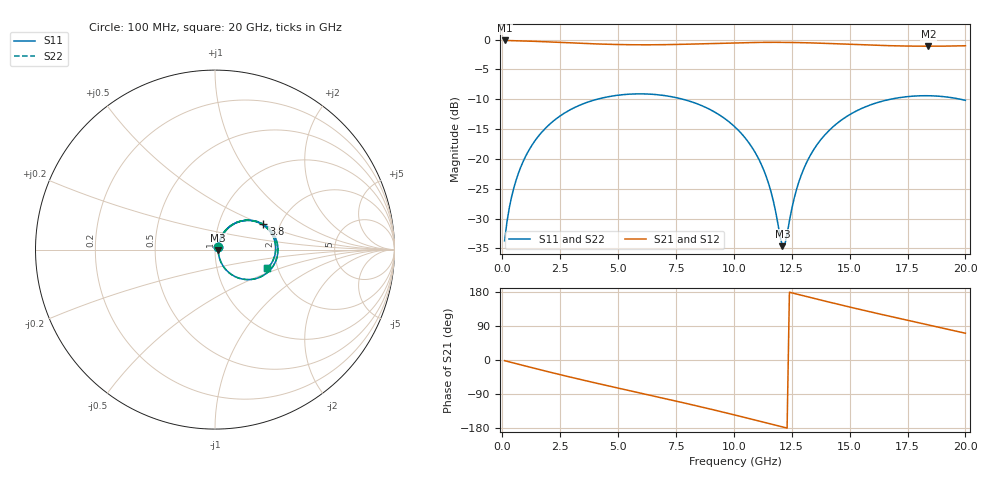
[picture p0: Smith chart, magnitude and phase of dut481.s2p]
! Touchstone file exported from HFSS 2026.1.0
!  File:  C:/ffzhzh/LocalFiles/Ansys_Project_Files/temp_train_TSV_RDL_481_1783104490_53076.aedt
!  Generated:  03:01:11 AM Jul  4, 2026
!  Design:  TSV_RDL
!  Project:  temp_train_TSV_RDL_481_1783104490_53076
! Variables:
!  h_bsmrdl = 3.07um
!  h_ox = 20um
!  h_rdl = 5um
!  h_sub = 61.56um
!  h_tmrdl = 4.69um
!  h_tsv = 61.56um
!  h_via = 3um
!  l_bsmrdl = 312.93um
!  l_sub = 5153.39um
!  l_tmrdl = 915.7um
!  m_sub = 200um
!  pitch = 41.64um
!  r_tsv = 10.01um
!  s_tmrdl = 10um
!  w_bsmrdl = 24.1um
!  w_sub = 500um
!  w_tmrdl = 26.5um
!  x_tsv_center1 = 928.95um
!  x_tsv_center2 = 1265.98um
!  x_tsv_center3 = 2208.18um
!  x_tsv_center4 = 2545.21um
!  x_tsv_center5 = 3487.41um
!  x_tsv_center6 = 3824.44um
# GHz S MA R 50.000000
! Terminal data exported
! Port[1] = TM_RDL1_1_T1
! Port[2] = TM_RDL5_1_T1
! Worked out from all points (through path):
!   200 points, 100 MHz to 20 GHz, reference 50 ohm
!   highest |S21| = -0.15 dB at 100 MHz (marker M1); lowest = -1.1 dB at 18.4 GHz (marker M2)
!   group delay of S21, straight-line fit = 40.2 ps
!   lowest |S11| = -34.6 dB at 12.1 GHz (marker M3), VSWR 1.04, Z = 51.9 - j0.38 ohm
!   |S11| at or under -10 dB: start of sweep to 4.099 GHz; 7.798 GHz to 16.77 GHz (8.968 GHz wide, 73 % of centre); 19.79 GHz to end of sweep
!   |S22| runs from -34.8 to -9.1 dB; largest |S21 - S12| = 2.3e-14
!   S11 on the Smith chart (normalised r, x): 100 MHz: 1.03, +0.02; 3.8 GHz: 1.64, +0.51; 20 GHz: 1.76, -0.41
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0.1  0.02061 34.9  0.9834 -1.7  0.9834 -1.7  0.02061 34.9
! Gamma 0 0 0 0
! Port Impedance 50 0 50 0
0.3  0.03864 55.4  0.9804 -4.9  0.9804 -4.9  0.03864 55.4
0.5  0.05725 61.0  0.9782 -8.1  0.9782 -8.1  0.05725 61.0
1.1  0.1136 61.1  0.9711 -17.5  0.9711 -17.5  0.1136 61.1
2.1  0.1995 50.1  0.9548 -32.7  0.9548 -32.7  0.1995 50.1
3.5  0.2899 31.6  0.9288 -53.2  0.9288 -53.2  0.2899 31.6
3.8  0.304 27.6  0.9238 -57.5  0.9238 -57.5  0.304 27.6
5.3  0.3466 7.9  0.9068 -78.2  0.9068 -78.2  0.3466 7.9
6.8  0.3434 -11.6  0.9057 -98.7  0.9057 -98.7  0.3434 -11.6
8.5  0.2853 -33.8  0.9207 -122.5  0.9207 -122.5  0.2853 -33.8
10.1  0.1811 -54.3  0.9398 -146.0  0.9398 -146.0  0.1811 -54.4
10.8  0.1235 -61.9  0.9457 -156.6  0.9457 -156.6  0.1235 -62.0
11.3  0.07978 -64.6  0.9481 -164.3  0.9481 -164.3  0.07976 -64.8
11.7  0.0448 -59.8  0.9487 -170.4  0.9487 -170.4  0.04471 -60.2
12.1  0.01855 -11.4  0.948 -176.6  0.948 -176.6  0.01821 -11.8
12.2  0.01899 15.8  0.9476 -178.1  0.9476 -178.1  0.01862 16.0
12.8  0.06347 63.3  0.9437 172.7  0.9437 172.7  0.0633 63.6
13.4  0.1153 62.0  0.9373 163.5  0.9373 163.5  0.1152 62.2
14.8  0.2219 46.3  0.9164 142.7  0.9164 142.7  0.2218 46.5
16.7  0.3143 22.0  0.8892 115.8  0.8892 115.8  0.3142 22.2
18.4  0.3384 0.5  0.88 92.6  0.88 92.6  0.3383 0.6
20  0.3095 -19.8  0.8878 70.6  0.8878 70.6  0.3094 -19.6
